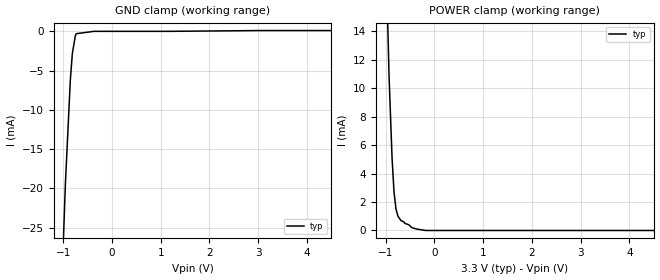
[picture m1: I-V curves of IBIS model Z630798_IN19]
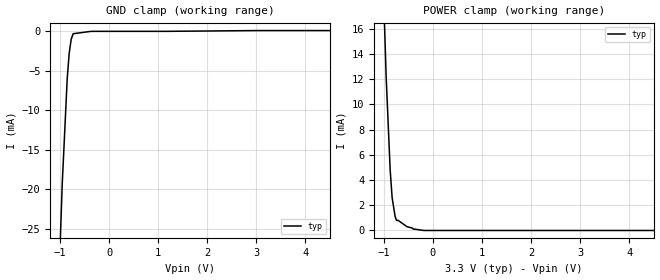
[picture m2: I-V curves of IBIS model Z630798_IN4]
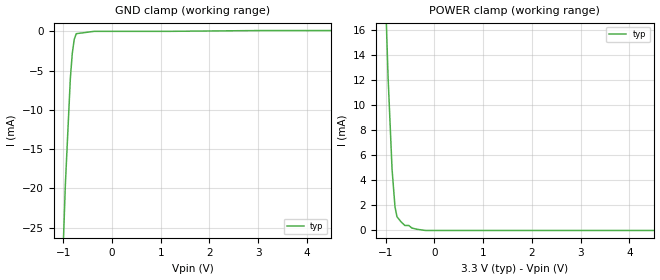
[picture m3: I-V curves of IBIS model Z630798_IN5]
| YOU ARE ONLY AUTHORIZED TO USE THIS SOFTWARE
| ACCORDING TO LICENSOR'S LICENSE RESTRICTIONS.
[IBIS Ver] 3.1
[File Name] mc100ep56dw_33.ibs
[File Rev] 3
[Source] Derived from mc10ep57dt_-33.ibs and mc100el13dw_pecl.ibs
|   Measured and created by ICX Technology
[Date] 7/31/2003
[Copyright]
| (C) COPYRIGHT 1993-2000
| MENTOR GRAPHICS CORPORATION
| ICX STANDARD LIBRARY, ICX PROJECT MODELING,
| ICX CUSTOM MODELING, ICX VENDOR MODEL
| ALL RIGHTS RESERVED.
| THE FOLLOWING ARE TRADEMARKS OR SERVICE MARKS OF
| MENTOR GRAPHICS CORPORATION:ICX (R), ICX STANDARD
| LIBRARY(R), ICX PROJECT MODELING(R), ICX CUSTOM
| MODELING(R), qualityIBIS(TM), MODELVIEWER(TM),
| AND MODELEDITOR(TM)
| ALL COPIES OF SOFTWARE, INCLUDING BUT NOT LIMITED TO
| ANY MODIFICATIONS, ENHANCEMENTS OR DERIVATIVE WORKS,
| MUST CONTAIN ALL MENTOR GRAPHICS CORPORATION'S
| NOTICES AND LEGENDS, INCLUDING THOSE EMBEDDED IN
| SOFTWARE AND THOSE AFFIXED TO SOFTWARE MEDIUM
| AND CONTAINER, AS RECEIVED FROM MENTOR GRAPHICS
| CORPORATION.
|  ZAP Model Builder 2.8
[Component] MC100EP56DW_33
[Manufacturer] ON
[Package]
| variable   typ   min   max
R_pkg  .158ohms NA NA
L_pkg  3.37nH NA NA
C_pkg  .4pF NA NA
[Pin] signal_name  model_name  R_pin  L_pin C_pin
1 D0a Z630798_IN4 .185 4.57n .42p
2 _D0a Z630798_IN5 .177 3.98n .42p
3 VBB0 POWER .177 3.98n .42p
4 D0b Z630798_IN4 .185 4.57n .42p
5 _D0b Z630798_IN5 .177 3.98n .42p
6 D1a Z630798_IN4 .185 4.57n .42p
7 _D1a Z630798_IN5 .177 3.98n .42p
8 VBB1 POWER .177 3.98n .42p
9 D1b Z630798_IN5 .177 3.98n .42p
10 _D1b Z630798_IN4 .185 4.57n .42p
11 VEE POWER .194 5.16n .43p
12 _Q1 Z630798_OUT15 .171 3.6n .37p
13 Q1 Z630798_OUT16 .171 3.6n .37p
14 VCC POWER .174 3.79n .41p
15 SEL1 Z630798_IN19 .177 3.98n .42p
16 COM_SEL Z630798_IN4 .185 4.57n .42p
17 SEL0 Z630798_IN19 .177 3.98n .42p
18 _Q0 Z630798_OUT15 .171 3.6n .37p
19 Q0 Z630798_OUT16 .171 3.6n .37p
20 VCC POWER .194 5.16n .43p
[Diff Pin] inv_pin vdiff tdelay_typ tdelay_min tdelay_max
1 2 150mv NA NA NA
4 5 150mv NA NA NA
6 7 150mv NA NA NA
9 10 150mv NA NA NA
13 12 NA NA NA NA
19 18 NA NA NA NA
| Models and submodels in the file (5): Z630798_IN19 (Input_ECL), Z630798_IN4 (Input_ECL), Z630798_IN5 (Input_ECL), Z630798_OUT15 (Output_ECL), Z630798_OUT16 (Output_ECL)
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| (C) COPYRIGHT 1993-2000
| MENTOR GRAPHICS CORPORATION
| ICX STANDARD LIBRARY, ICX PROJECT MODELING,
| ICX CUSTOM MODELING, ICX VENDOR MODEL
| ALL RIGHTS RESERVED.
| THE FOLLOWING ARE TRADEMARKS OR SERVICE MARKS OF
| MENTOR GRAPHICS CORPORATION:ICX (R), ICX STANDARD
| LIBRARY(R), ICX PROJECT MODELING(R), ICX CUSTOM
| MODELING(R), qualityIBIS(TM), MODELVIEWER(TM),
| AND MODELEDITOR(TM)
| ALL COPIES OF SOFTWARE, INCLUDING BUT NOT LIMITED TO
| ANY MODIFICATIONS, ENHANCEMENTS OR DERIVATIVE WORKS,
| MUST CONTAIN ALL MENTOR GRAPHICS CORPORATION'S
| NOTICES AND LEGENDS, INCLUDING THOSE EMBEDDED IN
| SOFTWARE AND THOSE AFFIXED TO SOFTWARE MEDIUM
| AND CONTAINER, AS RECEIVED FROM MENTOR GRAPHICS
| CORPORATION.
| Model Application Version 1.89 2/18/99.
[Model] Z630798_IN19
Model_type Input_ECL
Vinl = 1.675V
Vinh = 2.075V
C_comp 1.000pF NA NA
| variable typ   min   max
[Voltage Range] 3.300V NA NA
[GND Clamp Reference] 0.000V NA NA
[POWER Clamp Reference] 3.300V NA NA
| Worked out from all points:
|   GND clamp passes 1 mA (typ) near -0.76 V on its own axis
|   POWER clamp passes 1 mA (typ) near -0.75 V on its own axis
[GND Clamp]
-3.3V     -514.1mA   NA         NA
-1.058V   -37.3mA    NA         NA
-957mV    -19.5mA    NA         NA
-855mV    -6.2mA     NA         NA
-815mV    -2.9mA     NA         NA
-754mV    -600uA     NA         NA
-734mV    -300uA     NA         NA
-367mV    0A         NA         NA
1.192V    0A         NA         NA
3.057V    100uA      NA         NA
6.6V      100uA      NA         NA
[POWER Clamp]
-3.3V     416.2mA    NA         NA
-1.054V   27.1mA     NA         NA
-932mV    10.8mA     NA         NA
-871mV    5.1mA      NA         NA
-831mV    2.7mA      NA         NA
-790mV    1.5mA      NA         NA
-750mV    1mA        NA         NA
-689mV    700uA      NA         NA
-527mV    400uA      NA         NA
-466mV    200uA      NA         NA
-182.5mV  0A         NA         NA
6.6V      0A         NA         NA
| (C) COPYRIGHT 1993-2000
| MENTOR GRAPHICS CORPORATION
| ICX STANDARD LIBRARY, ICX PROJECT MODELING,
| ICX CUSTOM MODELING, ICX VENDOR MODEL
| ALL RIGHTS RESERVED.
| THE FOLLOWING ARE TRADEMARKS OR SERVICE MARKS OF
| MENTOR GRAPHICS CORPORATION:ICX (R), ICX STANDARD
| LIBRARY(R), ICX PROJECT MODELING(R), ICX CUSTOM
| MODELING(R), qualityIBIS(TM), MODELVIEWER(TM),
| AND MODELEDITOR(TM)
| ALL COPIES OF SOFTWARE, INCLUDING BUT NOT LIMITED TO
| ANY MODIFICATIONS, ENHANCEMENTS OR DERIVATIVE WORKS,
| MUST CONTAIN ALL MENTOR GRAPHICS CORPORATION'S
| NOTICES AND LEGENDS, INCLUDING THOSE EMBEDDED IN
| SOFTWARE AND THOSE AFFIXED TO SOFTWARE MEDIUM
| AND CONTAINER, AS RECEIVED FROM MENTOR GRAPHICS
| CORPORATION.
| Model Application Version 1.89 2/18/99.
[Model] Z630798_IN4
Model_type Input_ECL
Vinl = 1.675V
Vinh = 2.075V
C_comp 1.000pF NA NA
| variable typ   min   max
[Voltage Range] 3.300V NA NA
[GND Clamp Reference] 0.000V NA NA
[POWER Clamp Reference] 3.300V NA NA
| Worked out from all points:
|   GND clamp passes 1 mA (typ) near -0.77 V on its own axis
|   POWER clamp passes 1 mA (typ) near -0.76 V on its own axis
[GND Clamp]
-3.3V     -531.4mA   NA         NA
-1.078V   -41.5mA    NA         NA
-957mV    -19.4mA    NA         NA
-855mV    -6mA       NA         NA
-815mV    -2.8mA     NA         NA
-774mV    -1mA       NA         NA
-733mV    -300uA     NA         NA
-366.5mV  0A         NA         NA
1.182V    0A         NA         NA
3.037V    100uA      NA         NA
6.6V      100uA      NA         NA
[POWER Clamp]
-3.3V     369.6mA    NA         NA
-1.054V   24.8mA     NA         NA
-953mV    12.2mA     NA         NA
-871mV    4.8mA      NA         NA
-831mV    2.6mA      NA         NA
-770mV    1.1mA      NA         NA
-739.5mV  800uA      NA         NA
-709mV    800uA      NA         NA
-527mV    300uA      NA         NA
-395mV    100uA      NA         NA
-182.5mV  0A         NA         NA
6.6V      0A         NA         NA
| (C) COPYRIGHT 1993-2000
| MENTOR GRAPHICS CORPORATION
| ICX STANDARD LIBRARY, ICX PROJECT MODELING,
| ICX CUSTOM MODELING, ICX VENDOR MODEL
| ALL RIGHTS RESERVED.
| THE FOLLOWING ARE TRADEMARKS OR SERVICE MARKS OF
| MENTOR GRAPHICS CORPORATION:ICX (R), ICX STANDARD
| LIBRARY(R), ICX PROJECT MODELING(R), ICX CUSTOM
| MODELING(R), qualityIBIS(TM), MODELVIEWER(TM),
| AND MODELEDITOR(TM)
| ALL COPIES OF SOFTWARE, INCLUDING BUT NOT LIMITED TO
| ANY MODIFICATIONS, ENHANCEMENTS OR DERIVATIVE WORKS,
| MUST CONTAIN ALL MENTOR GRAPHICS CORPORATION'S
| NOTICES AND LEGENDS, INCLUDING THOSE EMBEDDED IN
| SOFTWARE AND THOSE AFFIXED TO SOFTWARE MEDIUM
| AND CONTAINER, AS RECEIVED FROM MENTOR GRAPHICS
| CORPORATION.
| Model Application Version 1.89 2/18/99.
[Model] Z630798_IN5
Model_type Input_ECL
Vinl = 1.675V
Vinh = 2.075V
C_comp 1.000pF NA NA
| variable typ   min   max
[Voltage Range] 3.300V NA NA
[GND Clamp Reference] 0.000V NA NA
[POWER Clamp Reference] 3.300V NA NA
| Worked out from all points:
|   GND clamp passes 1 mA (typ) near -0.77 V on its own axis
|   POWER clamp passes 1 mA (typ) near -0.75 V on its own axis
[GND Clamp]
-3.3V     -528.7mA   NA         NA
-1.058V   -37.7mA    NA         NA
-957mV    -19.5mA    NA         NA
-855mV    -6mA       NA         NA
-815mV    -2.8mA     NA         NA
-774mV    -1mA       NA         NA
-734mV    -300uA     NA         NA
-367mV    0A         NA         NA
1.171V    0A         NA         NA
3.016V    100uA      NA         NA
6.6V      100uA      NA         NA
[POWER Clamp]
-3.3V     364.8mA    NA         NA
-1.054V   24.7mA     NA         NA
-953mV    12.3mA     NA         NA
-871mV    4.9mA      NA         NA
-811mV    1.9mA      NA         NA
-770mV    1.1mA      NA         NA
-689mV    700uA      NA         NA
-608mV    400uA      NA         NA
-527mV    400uA      NA         NA
-466mV    200uA      NA         NA
-182mV    0A         NA         NA
6.6V      0A         NA         NA
